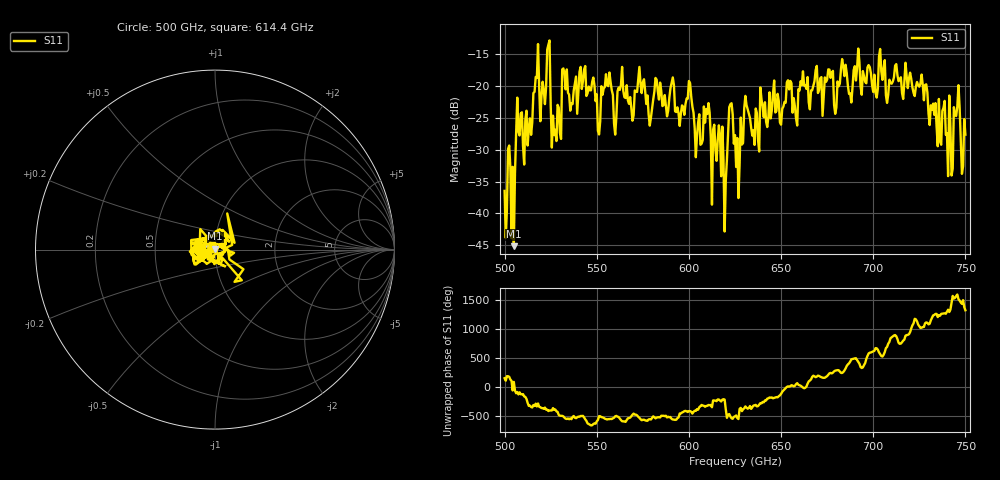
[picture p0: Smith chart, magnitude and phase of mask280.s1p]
!Created with skrf (http://scikit-rf.org).
# GHz S MA R 50.0
!freq magS11 angS11
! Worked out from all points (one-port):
!   401 points, 500 GHz to 750 GHz, reference 50 ohm
!   lowest |S11| = -45.1 dB at 505 GHz (marker M1), VSWR 1.01, Z = 50.1 + j0.55 ohm
!   |S11| at or under -10 dB: start of sweep to end of sweep
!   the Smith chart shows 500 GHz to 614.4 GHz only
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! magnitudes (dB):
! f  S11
! 500 GHz  -36.5
! 505 GHz  -45.1
! 507.5 GHz  -27.2
! 513.8 GHz  -25.1
! 516.9 GHz  -18.6
! 520.6 GHz  -19.4
! 523.8 GHz  -13.5
! 526.9 GHz  -27.7
! 531.2 GHz  -17.4
! 542.5 GHz  -19.2
! 550.6 GHz  -27.0
! 562.5 GHz  -20.6
! 590.6 GHz  -19.5
! 593.8 GHz  -23.4
! 610 GHz  -24.4
! 618.8 GHz  -31.6
! 622.5 GHz  -22.9
! 625 GHz  -27.7
! 656.2 GHz  -24.2
! 676.9 GHz  -18.7
! 680 GHz  -23.4
! 683.8 GHz  -16.9
! 687.5 GHz  -21.2
! 691.2 GHz  -17.2
! 718.8 GHz  -20.3
! 741.9 GHz  -26.6
! 745 GHz  -24.7
! 750 GHz  -27.6
